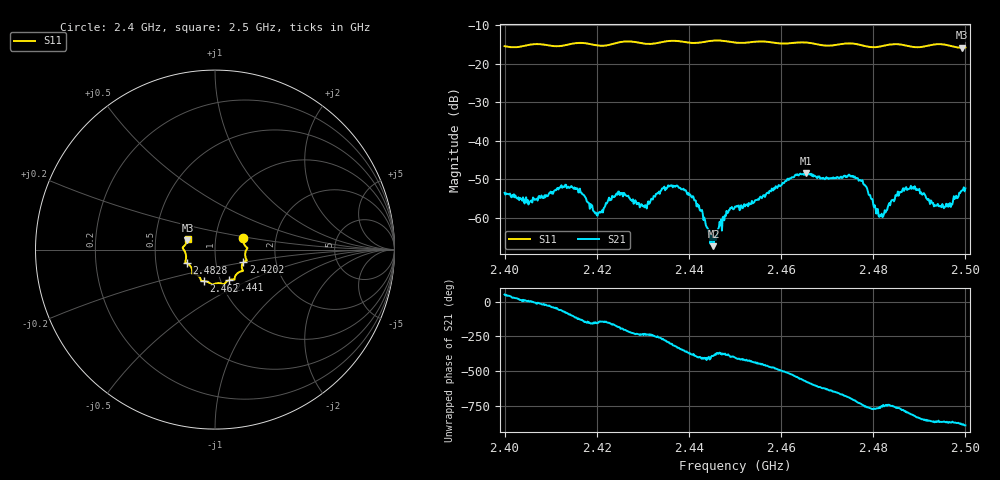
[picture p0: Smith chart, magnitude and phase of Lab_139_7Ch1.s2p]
# Hz S RI R 50
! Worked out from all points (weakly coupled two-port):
!   601 points, 2.4 GHz to 2.5 GHz, reference 50 ohm
!   highest |S21| = -48.37 dB at 2.4653 GHz (marker M1); lowest = -67.4 dB at 2.4453 GHz (marker M2)
!   lowest |S11| = -15.8 dB at 2.4993 GHz (marker M3), VSWR 1.39, Z = 36.5 + j3.85 ohm
!   |S11| at or under -10 dB: start of sweep to end of sweep
!   S12 and S22 are empty: the file has one direction only
!   S11 on the Smith chart (normalised r, x): 2.4 GHz: 1.36, +0.18; 2.4202 GHz: 1.36, -0.20; 2.441 GHz: 1.10, -0.39; 2.462 GHz: 0.84, -0.30; 2.4828 GHz: 0.72, -0.11; 2.5 GHz: 0.73, +0.09
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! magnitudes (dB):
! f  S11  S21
! 2.4 GHz  -15.4  -53.5
! 2.4053 GHz  -15.0  -56.1
! 2.4167 GHz  -14.5  -53.5
! 2.4202 GHz  -15.2  -59.5
! 2.4247 GHz  -14.4  -53.2
! 2.4303 GHz  -14.7  -57.3
! 2.4333 GHz  -14.5  -53.7
! 2.4372 GHz  -14.0  -51.8
! 2.441 GHz  -14.6  -54.7
! 2.4453 GHz  -13.9  -67.4
! 2.45 GHz  -14.4  -57.1
! 2.462 GHz  -14.6  -49.9
! 2.4653 GHz  -14.4  -48.4
! 2.4667 GHz  -14.6  -49.1
! 2.4762 GHz  -14.8  -49.7
! 2.4812 GHz  -15.5  -59.6
! 2.4828 GHz  -15.1  -58.2
! 2.4833 GHz  -15.0  -56.6
! 2.4868 GHz  -15.1  -52.7
! 2.495 GHz  -14.9  -56.5
! 2.4993 GHz  -15.8  -52.9
! 2.5 GHz  -15.7  -52.4
